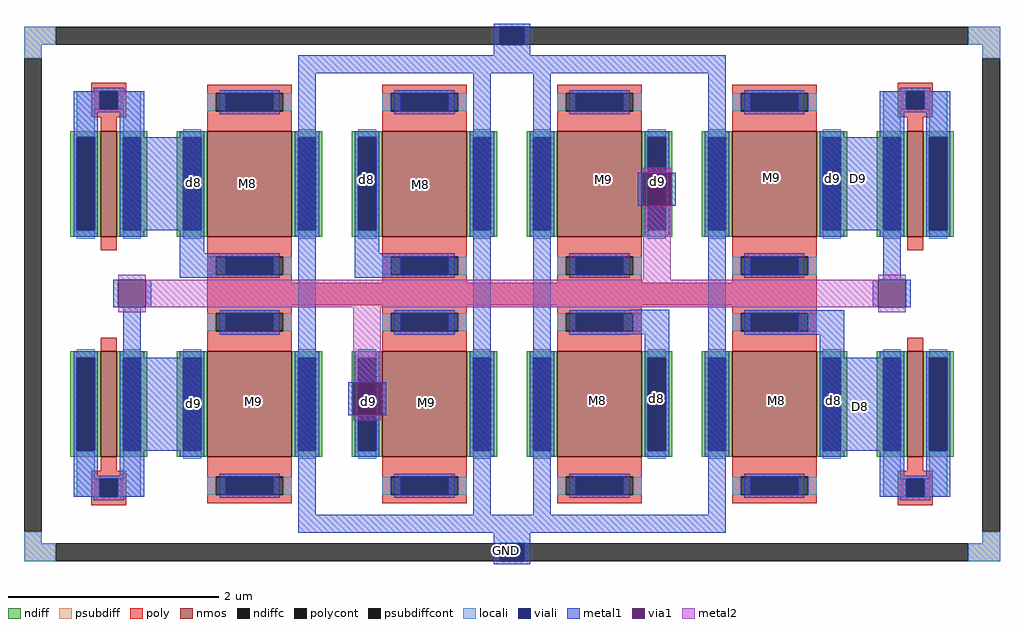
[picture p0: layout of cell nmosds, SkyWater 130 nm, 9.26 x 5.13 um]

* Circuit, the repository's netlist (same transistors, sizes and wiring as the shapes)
* NGSPICE file created from nmosds.ext - technology: sky130A

.subckt sky130_fd_pr__nfet_01v8_9C87QP a_n304_109# a_n578_21# a_n418_109# a_246_109#
+ a_28_109# a_578_n309# a_360_109# a_n636_109# a_86_21# a_578_109# a_418_21# a_n246_21#
+ a_n86_n309# a_86_n397# a_n246_n397# a_360_n309# a_n86_109# a_n304_n309# a_n418_n309#
+ a_418_n397# a_28_n309# a_n578_n397# a_246_n309# a_n636_n309# VSUBS
X0 a_246_109# a_86_21# a_28_109# VSUBS sky130_fd_pr__nfet_01v8 ad=0.29 pd=2.58 as=0.29 ps=2.58 w=1 l=0.8
X1 a_578_n309# a_418_n397# a_360_n309# VSUBS sky130_fd_pr__nfet_01v8 ad=0.29 pd=2.58 as=0.29 ps=2.58 w=1 l=0.8
X2 a_246_n309# a_86_n397# a_28_n309# VSUBS sky130_fd_pr__nfet_01v8 ad=0.29 pd=2.58 as=0.29 ps=2.58 w=1 l=0.8
X3 a_n418_n309# a_n578_n397# a_n636_n309# VSUBS sky130_fd_pr__nfet_01v8 ad=0.29 pd=2.58 as=0.29 ps=2.58 w=1 l=0.8
X4 a_n86_n309# a_n246_n397# a_n304_n309# VSUBS sky130_fd_pr__nfet_01v8 ad=0.29 pd=2.58 as=0.29 ps=2.58 w=1 l=0.8
X5 a_578_109# a_418_21# a_360_109# VSUBS sky130_fd_pr__nfet_01v8 ad=0.29 pd=2.58 as=0.29 ps=2.58 w=1 l=0.8
X6 a_n418_109# a_n578_21# a_n636_109# VSUBS sky130_fd_pr__nfet_01v8 ad=0.29 pd=2.58 as=0.29 ps=2.58 w=1 l=0.8
X7 a_n86_109# a_n246_21# a_n304_109# VSUBS sky130_fd_pr__nfet_01v8 ad=0.29 pd=2.58 as=0.29 ps=2.58 w=1 l=0.8
.ends

.subckt sky130_fd_pr__nfet_01v8_SJFSNB a_n73_n100# a_15_n100# a_n15_n126# VSUBS
X0 a_15_n100# a_n15_n126# a_n73_n100# VSUBS sky130_fd_pr__nfet_01v8 ad=0.29 pd=2.58 as=0.29 ps=2.58 w=1 l=0.15
.ends

.subckt nmosds GND D9 D8
Xsky130_fd_pr__nfet_01v8_9C87QP_0 D8 D8 GND D9 GND D8 GND D8 D8 D9 D8 D8 GND D8 D8
+ GND GND D9 GND D8 GND D8 D8 D9 GND sky130_fd_pr__nfet_01v8_9C87QP
Xsky130_fd_pr__nfet_01v8_SJFSNB_0 D9 D9 D9 GND sky130_fd_pr__nfet_01v8_SJFSNB
Xsky130_fd_pr__nfet_01v8_SJFSNB_1 D8 D8 D8 GND sky130_fd_pr__nfet_01v8_SJFSNB
Xsky130_fd_pr__nfet_01v8_SJFSNB_2 D8 D8 D8 GND sky130_fd_pr__nfet_01v8_SJFSNB
Xsky130_fd_pr__nfet_01v8_SJFSNB_3 D9 D9 D9 GND sky130_fd_pr__nfet_01v8_SJFSNB
.ends

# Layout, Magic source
magic
tech sky130A
magscale 1 2
<< psubdiff >>
rect -290 870 -230 904
rect 1502 870 1562 904
rect -290 844 -256 870
rect 1528 844 1562 870
rect -290 -76 -256 -54
rect 1528 -76 1562 -54
rect -290 -110 -230 -76
rect 1502 -110 1562 -76
<< psubdiffcont >>
rect -230 870 1502 904
rect -290 -54 -256 844
rect 1528 -54 1562 844
rect -230 -110 1502 -76
<< poly >>
rect -162 782 -96 798
rect -162 748 -146 782
rect -112 748 -96 782
rect -162 732 -96 748
rect 1368 782 1434 798
rect 1368 748 1384 782
rect 1418 748 1434 782
rect 1368 732 1434 748
rect 58 376 1214 418
rect -162 46 -96 62
rect -162 12 -146 46
rect -112 12 -96 46
rect -162 -4 -96 12
rect 1368 46 1434 62
rect 1368 12 1384 46
rect 1418 12 1434 46
rect 1368 -4 1434 12
<< polycont >>
rect -146 748 -112 782
rect 1384 748 1418 782
rect -146 12 -112 46
rect 1384 12 1418 46
<< locali >>
rect -290 870 -230 904
rect 1502 870 1562 904
rect -290 844 -256 870
rect 1528 844 1562 870
rect -190 748 -146 782
rect -112 748 -68 782
rect -190 710 -156 748
rect -102 710 -68 748
rect 1340 748 1384 782
rect 1418 748 1462 782
rect 1340 710 1374 748
rect 1428 710 1462 748
rect -190 46 -156 84
rect -102 46 -68 84
rect -190 12 -146 46
rect -112 12 -68 46
rect 1340 46 1374 85
rect 1428 46 1462 85
rect 1340 12 1384 46
rect 1418 12 1462 46
rect -290 -76 -256 -54
rect 1528 -76 1562 -54
rect -290 -110 -230 -76
rect 1502 -110 1562 -76
<< viali >>
rect 613 870 659 904
rect -146 748 -112 782
rect 1384 748 1418 782
rect -146 12 -112 46
rect 1384 12 1418 46
rect 613 -110 659 -76
<< metal1 >>
rect 601 904 671 910
rect 601 870 613 904
rect 659 870 671 904
rect 601 850 671 870
rect 230 816 1042 850
rect -158 782 -100 788
rect -196 748 -146 782
rect -112 748 -62 782
rect -196 742 -62 748
rect -196 706 -150 742
rect -108 706 -62 742
rect -102 518 46 694
rect 6 474 52 518
rect 6 428 81 474
rect -121 372 -111 424
rect -59 372 -49 424
rect -102 276 -68 372
rect -102 100 46 276
rect -196 52 -150 88
rect -108 52 -62 88
rect -196 46 -62 52
rect -196 12 -146 46
rect -112 12 -62 46
rect -158 6 -100 12
rect 230 -22 264 816
rect 338 474 384 518
rect 338 428 413 474
rect 325 167 335 230
rect 387 167 397 230
rect 562 -22 596 816
rect 676 -22 710 816
rect 875 564 885 627
rect 937 564 947 627
rect 859 321 934 367
rect 888 277 934 321
rect 1008 -22 1042 816
rect 1372 782 1430 788
rect 1334 748 1384 782
rect 1418 748 1468 782
rect 1334 742 1468 748
rect 1334 706 1380 742
rect 1422 706 1468 742
rect 1226 518 1374 694
rect 1340 424 1374 518
rect 1321 372 1331 424
rect 1383 372 1393 424
rect 1191 320 1266 366
rect 1220 276 1266 320
rect 1226 100 1374 276
rect 1334 52 1380 88
rect 1422 52 1468 88
rect 1334 46 1468 52
rect 1334 12 1384 46
rect 1418 12 1468 46
rect 1372 6 1430 12
rect 230 -56 1042 -22
rect 601 -76 671 -56
rect 601 -110 613 -76
rect 659 -110 671 -76
rect 601 -116 671 -110
<< via1 >>
rect -111 372 -59 424
rect 335 167 387 230
rect 885 564 937 627
rect 1331 372 1383 424
<< metal2 >>
rect 885 627 937 637
rect -111 424 -59 434
rect 885 424 937 564
rect 1331 424 1383 434
rect -59 372 1331 424
rect -111 362 -59 372
rect 335 230 387 372
rect 1331 362 1383 372
rect 335 157 387 167
use sky130_fd_pr__nfet_01v8_9C87QP  sky130_fd_pr__nfet_01v8_9C87QP_0
transform 1 0 636 0 1 397
box -636 -397 636 397
use sky130_fd_pr__nfet_01v8_SJFSNB  sky130_fd_pr__nfet_01v8_SJFSNB_0
transform 1 0 -129 0 1 188
box -73 -126 73 126
use sky130_fd_pr__nfet_01v8_SJFSNB  sky130_fd_pr__nfet_01v8_SJFSNB_1
transform 1 0 1401 0 1 188
box -73 -126 73 126
use sky130_fd_pr__nfet_01v8_SJFSNB  sky130_fd_pr__nfet_01v8_SJFSNB_2
transform 1 0 -129 0 1 606
box -73 -126 73 126
use sky130_fd_pr__nfet_01v8_SJFSNB  sky130_fd_pr__nfet_01v8_SJFSNB_3
transform 1 0 1401 0 1 606
box -73 -126 73 126
<< labels >>
flabel space 135 607 135 607 0 FreeSans 160 0 0 0 M8
flabel space 462 605 462 605 0 FreeSans 160 0 0 0 M8
flabel space 799 195 799 195 0 FreeSans 160 0 0 0 M8
flabel space 1138 195 1138 195 0 FreeSans 160 0 0 0 M8
flabel space 1128 619 1128 619 0 FreeSans 160 0 0 0 M9
flabel space 809 615 809 615 0 FreeSans 160 0 0 0 M9
flabel space 474 191 474 191 0 FreeSans 160 0 0 0 M9
flabel space 145 193 145 193 0 FreeSans 160 0 0 0 M9
flabel space 360 615 360 615 0 FreeSans 160 0 0 0 d8
flabel space 910 199 910 199 0 FreeSans 160 0 0 0 d8
flabel metal1 1245 617 1245 617 0 FreeSans 160 0 0 0 d9
flabel via1 364 193 364 193 0 FreeSans 160 0 0 0 d9
flabel metal1 31 189 31 189 0 FreeSans 160 0 0 0 d9
flabel via1 912 611 912 611 0 FreeSans 160 0 0 0 d9
flabel metal1 31 609 31 609 0 FreeSans 160 0 0 0 d8
flabel metal1 1247 195 1247 195 0 FreeSans 160 0 0 0 d8
flabel viali 626 -90 626 -90 0 FreeSans 320 0 0 0 GND
port 1 nsew
flabel metal1 1294 617 1294 617 0 FreeSans 320 0 0 0 D9
port 2 nsew
flabel metal1 1297 183 1297 183 0 FreeSans 320 0 0 0 D8
port 4 nsew
<< end >>

# cell sky130_fd_pr__nfet_01v8_9C87QP: kit device sky130_fd_pr__nfet_01v8, w 1 l 0.8 m 2 nf 4 diffcov 100 polycov 100 guard 0 glc 1 grc 1 gtc 1 gbc 1 tbcov 100 rlcov 100 topc 1 botc 1 poverlap 0 doverlap 0 lmin 0.15 wmin 0.42 compatible {sky130_fd_pr__nfet_01v8 sky130_fd_pr__nfet_01v8_lvt sky130_fd_bs_flash__special_sonosfet_star sky130_fd_pr__nfet_g5v0d10v5 sky130_fd_pr__nfet_05v0_nvt sky130_fd_pr__nfet_03v3_nvt} full_metal 0 viasrc 100 viadrn 100 viagate 70 viagb 0 viagr 0 viagl 0 viagt 0

# cell sky130_fd_pr__nfet_01v8_SJFSNB: kit device sky130_fd_pr__nfet_01v8, w 1 l 0.15 m 1 nf 1 diffcov 100 polycov 100 guard 0 glc 1 grc 1 gtc 1 gbc 1 tbcov 100 rlcov 100 topc 0 botc 0 poverlap 0 doverlap 1 lmin 0.15 wmin 0.42 compatible {sky130_fd_pr__nfet_01v8 sky130_fd_pr__nfet_01v8_lvt sky130_fd_bs_flash__special_sonosfet_star sky130_fd_pr__nfet_g5v0d10v5 sky130_fd_pr__nfet_05v0_nvt sky130_fd_pr__nfet_03v3_nvt} full_metal 1 viasrc 100 viadrn 100 viagate 100 viagb 0 viagr 0 viagl 0 viagt 0
